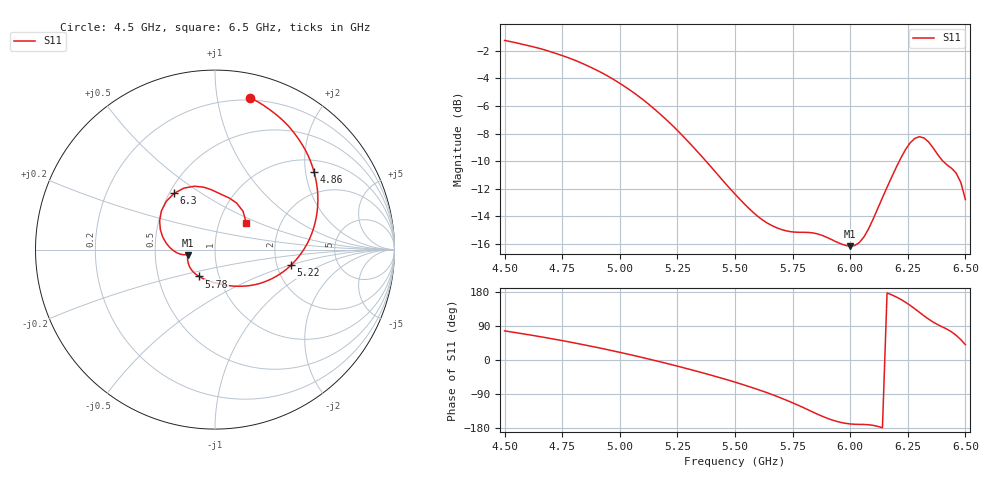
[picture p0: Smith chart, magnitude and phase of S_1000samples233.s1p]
! TOUCHSTONE file generated by CST MICROWAVE STUDIO
! Date and time: Thu Oct 27 11:20:50 2022
! Project name: L.cst
! Parameters = {Di=1.27; Epsilon_r=1.56; InnerDiameter=1.27; Length=2; Lf=10; Lg=60; OuterConductorThickness=0.2921; OuterDiameter=3.6; Wf=3; Wp=41.2; de=1.5; df=6.8; g=0.8; gx=2.24889; gy=3.00808; h=2.34; hf=1.524; px=12.8902; py=11.7361; w=9.7; wx=10.6413; wy=8.72798}
! Header version: 2018
! Port assignment regex: !\s*Touchstone port\s*([0-9]+)\s*=\s*(CST MWS port|CST DS port)\s*([0-9]+|Zmin|Zmax)\s*\(\"(.*)\"\)(\s*mode\s*([0-9]+))?.*
! Touchstone port assignment:
! Touchstone port 1 = CST MWS port 1 ("")
# GHz S DB R 50
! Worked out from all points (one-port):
!   101 points, 4.5 GHz to 6.5 GHz, reference 50 ohm
!   lowest |S11| = -16.2 dB at 6 GHz (marker M1), VSWR 1.37, Z = 36.7 - j2.27 ohm
!   |S11| at or under -10 dB: 5.374 GHz to 6.213 GHz (839.8 MHz wide, 14.5 % of centre); 6.402 GHz to end of sweep
!   S11 on the Smith chart (normalised r, x): 4.5 GHz: 0.18, +1.24; 4.86 GHz: 1.30, +2.23; 5.22 GHz: 2.39, -0.51; 5.78 GHz: 0.80, -0.25; 6.3 GHz: 0.53, +0.39; 6.5 GHz: 1.35, +0.42
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4.5  -1.24 76.8
4.64  -1.76 63.1
4.76  -2.39 50.0
4.86  -3.08 38.2
4.94  -3.75 28.1
5  -4.35 20.2
5.1  -5.53 6.2
5.22  -7.28 -11.6
5.26  -7.94 -17.8
5.38  -10.12 -37.3
5.5  -12.40 -58.4
5.64  -14.51 -86.5
5.76  -15.17 -115.6
5.78  -15.18 -121.0
5.88  -15.42 -148.8
6  -16.19 -168.8
6.06  -15.51 -170.1
6.12  -13.44 -175.2
6.16  -11.91 177.0
6.22  -9.78 159.9
6.26  -8.68 144.3
6.3  -8.23 126.0
6.34  -8.61 108.0
6.38  -9.53 93.3
6.42  -10.28 81.4
6.46  -10.88 65.0
6.48  -11.55 53.8
6.5  -12.80 40.6
